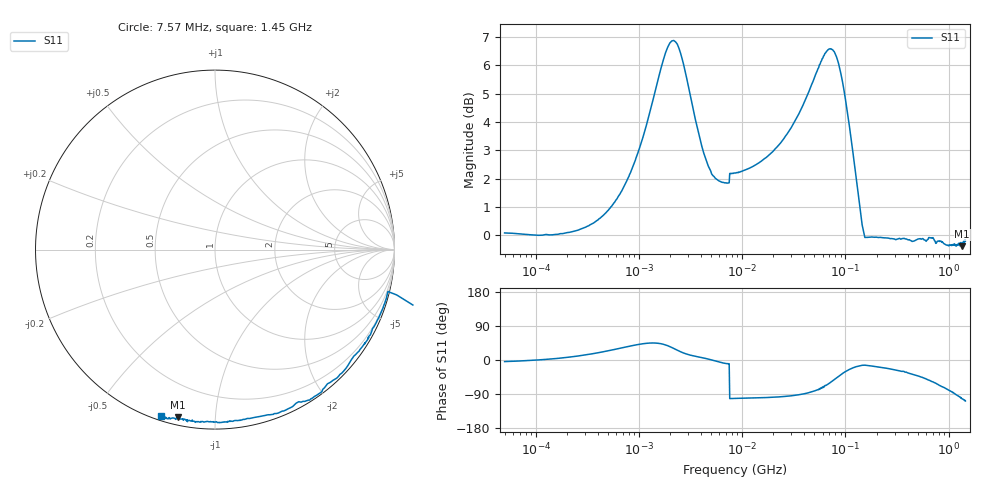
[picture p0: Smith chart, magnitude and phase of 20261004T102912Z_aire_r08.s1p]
! piloto_corto / aire / r08
# HZ S RI R 50
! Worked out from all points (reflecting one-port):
!   501 points, 50 kHz to 1.45 GHz, reference 50 ohm
!   lowest |S11| = -0.4 dB at 1.347 GHz (marker M1), VSWR 44.83, Z = 1.84 - j40.2 ohm
!   phase of S11 starts at -4 deg and turns -104 deg over the sweep
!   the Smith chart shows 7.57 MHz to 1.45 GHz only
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50000  1.006 -0.0732
183000  1.002 0.0989
658000  1.014 0.6112
1180000  1.125 1.085
1630000  1.438 1.342
1990000  1.778 1.266
2440000  1.957 0.8601
3430000  1.609 0.2945
4870000  1.306 0.0302
7300000  1.218 -0.2097
7750000  -0.2603 -1.258
8560000  -0.2557 -1.262
1.81e7  -0.2119 -1.368
3.16e7  -0.0996 -1.573
4.78e7  0.2103 -1.845
5.68e7  0.4623 -1.95
6.67e7  0.8971 -1.917
7.57e7  1.239 -1.722
8.83e7  1.495 -1.276
9.82e7  1.508 -0.9348
1e8  1.495 -0.8821
1.18e8  1.31 -0.4969
1.36e8  1.102 -0.3086
1.63e8  0.9601 -0.2463
4.06e8  0.8083 -0.5557
7.12e8  0.5187 -0.839
1.3465e9  -0.2051 -0.9341
1.45e9  -0.3018 -0.9294
